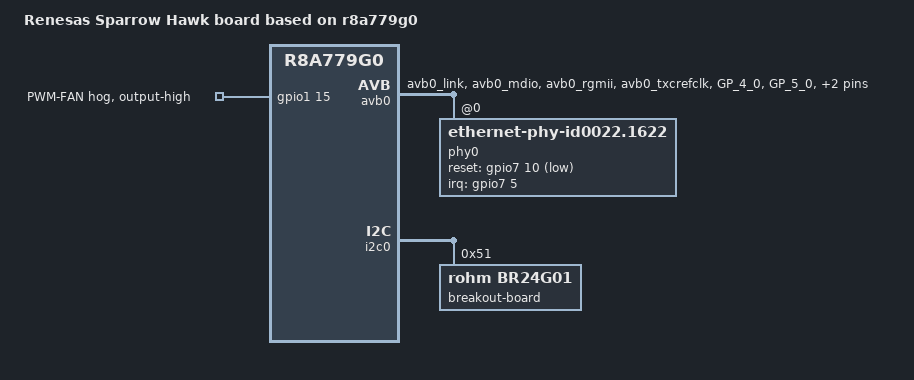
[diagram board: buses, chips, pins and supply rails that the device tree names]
// SPDX-License-Identifier: GPL-2.0
/*
 * Device Tree Source for the Sparrow Hawk board with R-Car V4H
 *
 * Copyright (C) 2021 Renesas Electronics Corp.
 */

/dts-v1/;
#include "r8a779g0-sparrowhawk-cpu.dtsi"

/ {
	model = "Renesas Sparrow Hawk board based on r8a779g0";
	compatible = "renesas,sparrowhawk-breakout", "renesas,sparrowhawk-cpu", "renesas,r8a779g0";

	aliases {
		ethernet0 = &avb0;
	};

	reserved-memory {
                #address-cells = <2>;
                #size-cells = <2>;
                ranges;

		cr_region: linux,cr_region@60000000 {
			no-map;
			reg = <0x00000000 0x60000000 0x0 0x20000000>;
		};

		ecc_data_region@4d0000000 {
			no-map;
			reg = <0x4 0xd0000000 0x0 0x30000000>;
		};

		ecc_data_region@6b0000000 {
			no-map;
			reg = <0x6 0xb0000000 0x0 0x50000000>;
		};
	};
};

&avb0 {
	pinctrl-0 = <&avb0_pins>;
	pinctrl-names = "default";
	phy-handle = <&phy0>;
	tx-internal-delay-ps = <2000>;
	status = "okay";

	phy0: ethernet-phy@0 {
		compatible = "ethernet-phy-id0022.1622",
			     "ethernet-phy-ieee802.3-c22";
		rxc-skew-ps = <1500>;
		reg = <0>;
		interrupt-parent = <&gpio7>;
		interrupts = <5 IRQ_TYPE_LEVEL_LOW>;
		reset-gpios = <&gpio7 10 GPIO_ACTIVE_LOW>;
	};
};

&i2c0 {
	eeprom@51 {
		compatible = "rohm,br24g01", "atmel,24c01";
		label = "breakout-board";
		reg = <0x51>;
		pagesize = <8>;
	};
};

&pfc {
	avb0_pins: avb0 {
		mux {
			groups = "avb0_link", "avb0_mdio", "avb0_rgmii",
				 "avb0_txcrefclk";
			function = "avb0";
		};

		pins_mdio {
			groups = "avb0_mdio";
			drive-strength = <21>;
		};

		pins_mii {
			groups = "avb0_rgmii";
			drive-strength = <21>;
		};

		pins-vddq18-25-avb {
			pins = "GP_4_0", "GP_5_0", "GP_6_0", "GP_7_0";
			power-source = <1800>;
		};
	};
};

&gpio1 {
	pwm-fan-hog {
		gpio-hog;
		gpios = <15 GPIO_ACTIVE_HIGH>;
		output-high;
		line-name = "PWM-FAN";
	};
};
